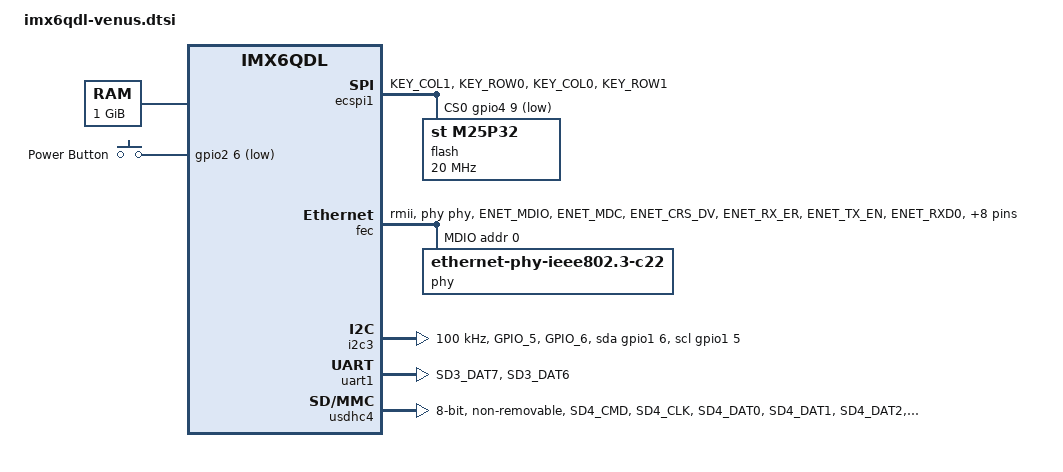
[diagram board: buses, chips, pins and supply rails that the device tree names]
// SPDX-License-Identifier: GPL-2.0
/*
 * Copyright (c) 2023 Koninklijke Philips N.V. All Rights Reserved.
 */

#include <dt-bindings/clock/imx6qdl-clock.h>
#include <dt-bindings/gpio/gpio.h>
#include <dt-bindings/input/input.h>

/ {
	aliases {
	};

	chosen {
		stdout-path = &uart1;
	};

	memory: memory@10000000 {
		device_type = "memory";
		reg = <0x10000000 0x40000000>;
	};

	gpio-keys {
		compatible = "gpio-keys";
		pinctrl-names = "default";
		pinctrl-0 = <&pinctrl_gpio_keys>;

		power {
			label = "Power Button";
			gpios = <&gpio2 6 GPIO_ACTIVE_LOW>;
			wakeup-source;
			linux,code = <KEY_POWER>;
		};
	};
};

&clks {
	assigned-clocks = <&clks IMX6QDL_CLK_LDB_DI0_SEL>,
			  <&clks IMX6QDL_CLK_LDB_DI1_SEL>;
	assigned-clock-parents = <&clks IMX6QDL_CLK_PLL2_PFD0_352M>,
				 <&clks IMX6QDL_CLK_PLL2_PFD0_352M>;
};

&ecspi1 {
	cs-gpios = <&gpio4 9 GPIO_ACTIVE_LOW>;
	pinctrl-names = "default";
	pinctrl-0 = <&pinctrl_ecspi1>;
	status = "okay";

	flash: flash@0 {
		#address-cells = <1>;
		#size-cells = <1>;
		compatible = "st,m25p32", "jedec,spi-nor";
		spi-max-frequency = <20000000>;
		reg = <0>;
	};
};

&fec {
	pinctrl-names = "default";
	pinctrl-0 = <&pinctrl_enet>;
	phy-mode = "rmii";
	phy-reset-gpios = <&gpio1 23 GPIO_ACTIVE_LOW>;
	phy-reset-duration = <5>;
	phy-reset-post-delay = <5>;
	phy-handle = <&phy>;
	status = "okay";

	mdio {
		#address-cells = <1>;
		#size-cells = <0>;

		phy: ethernet-phy@0 {
			compatible = "ethernet-phy-ieee802.3-c22";
			reg = <0>;
			clocks = <&clks IMX6QDL_CLK_ENET>;
			max-speed = <100>;
		};
	};
};

&i2c3 {
	clock-frequency = <100000>;
	pinctrl-names = "default", "gpio";
	pinctrl-0 = <&pinctrl_i2c3>;
	pinctrl-1 = <&pinctrl_i2c3_gpio>;
	scl-gpios = <&gpio1 5 GPIO_ACTIVE_HIGH>;
	sda-gpios = <&gpio1 6 GPIO_ACTIVE_HIGH>;
	status = "okay";
};

&iomuxc {
	pinctrl-names = "default";
	pinctrl-0 = <&pinctrl_hog>;
	status = "okay";

	imx6qdl-venus {
		pinctrl_hog: hoggrp {
			fsl,pins = <
				MX6QDL_PAD_NANDF_D0__GPIO2_IO00 0x1b0b0
				MX6QDL_PAD_NANDF_D1__GPIO2_IO01 0x1b0b0
				MX6QDL_PAD_NANDF_D2__GPIO2_IO02 0x1b0b0
				MX6QDL_PAD_NANDF_D3__GPIO2_IO03 0x1b0b0
				MX6QDL_PAD_GPIO_0__CCM_CLKO1    0x130b0
				MX6QDL_PAD_NANDF_CLE__GPIO6_IO07 0x1b0b0
				MX6QDL_PAD_ENET_TXD1__GPIO1_IO29 0x1b0b0
				MX6QDL_PAD_EIM_D22__GPIO3_IO22  0x1b0b0
				MX6QDL_PAD_ENET_CRS_DV__GPIO1_IO25 0x1b0b0
				MX6QDL_PAD_EIM_CS1__GPIO2_IO24 0x80000000
				MX6QDL_PAD_ENET_RXD0__GPIO1_IO27 0x80000000
				MX6QDL_PAD_EIM_A25__GPIO5_IO02 0x80000000
				MX6QDL_PAD_EIM_D23__GPIO3_IO23 0x80000000
				MX6QDL_PAD_NANDF_CS0__GPIO6_IO11 0x80000000
			>;
		};

		pinctrl_ecspi1: ecspi1grp {
			fsl,pins = <
				MX6QDL_PAD_KEY_COL1__ECSPI1_MISO	0x100b1
				MX6QDL_PAD_KEY_ROW0__ECSPI1_MOSI	0x100b1
				MX6QDL_PAD_KEY_COL0__ECSPI1_SCLK	0x100b1
				MX6QDL_PAD_KEY_ROW1__GPIO4_IO09		0x1b0b0
			>;
		};

		pinctrl_enet: enetgrp {
			fsl,pins = <
				MX6QDL_PAD_ENET_MDIO__ENET_MDIO				0x0001B0B0
				MX6QDL_PAD_ENET_MDC__ENET_MDC				0x0001B0B0
				MX6QDL_PAD_ENET_CRS_DV__ENET_RX_EN			0x0001B0B0
				/* MX6DL_PAD_ENET_RX_ER__ENET_RX_ER, */
				MX6QDL_PAD_ENET_RX_ER__GPIO1_IO24			0x0001B0B0
				MX6QDL_PAD_ENET_TX_EN__ENET_TX_EN			0x0001B0B0
				MX6QDL_PAD_ENET_RXD0__ENET_RX_DATA0			0x0001B0B0
				MX6QDL_PAD_ENET_RXD1__ENET_RX_DATA1			0x0001B0B0
				MX6QDL_PAD_ENET_TXD0__ENET_TX_DATA0			0x0001B0B0
				MX6QDL_PAD_ENET_TXD1__ENET_TX_DATA1			0x0001B0B0
				MX6QDL_PAD_GPIO_16__ENET_REF_CLK			0x4000a038
				MX6QDL_PAD_GPIO_0__CCM_CLKO1				0x000130B0
				MX6QDL_PAD_ENET_REF_CLK__GPIO1_IO23			0x0001B0B0
				MX6QDL_PAD_GPIO_6__ENET_IRQ		0x000b1
			>;
		};

		pinctrl_enet_irq: enetirqgrp {
			fsl,pins = <
				MX6QDL_PAD_GPIO_6__ENET_IRQ		0x000b1
			>;
		};

		pinctrl_gpio_keys: gpio_keysgrp {
			fsl,pins = <
				MX6QDL_PAD_NANDF_D6__GPIO2_IO06 0x1b0b0
				/*
				MX6QDL_PAD_GPIO_4__GPIO1_IO04  0x1b0b0
				MX6QDL_PAD_GPIO_5__GPIO1_IO05  0x1b0b0
				*/
			>;
		};

		pinctrl_i2c3: i2c3grp {
			fsl,pins = <
				/* MX6QDL_PAD_GPIO_3__I2C3_SCL		0x4001b8b1 */
				MX6QDL_PAD_GPIO_5__I2C3_SCL		0x4001b8b1
				MX6QDL_PAD_GPIO_6__I2C3_SDA		0x4001b8b1
			>;
		};

		pinctrl_i2c3_gpio: i2c3_gpio_grp {
			fsl,pins = <
				/* MX6QDL_PAD_GPIO_3__GPIO1_IO03		0x1b8b0 */
				MX6QDL_PAD_GPIO_5__GPIO1_IO05		0x1b8b0
				MX6QDL_PAD_GPIO_6__GPIO1_IO06		0x1b0b0
			>;
		};

		pinctrl_ipu1: ipu1grp {
			fsl,pins = <
				MX6QDL_PAD_DI0_DISP_CLK__IPU1_DI0_DISP_CLK 0x10
				MX6QDL_PAD_DI0_PIN15__IPU1_DI0_PIN15       0x10
				MX6QDL_PAD_DI0_PIN2__IPU1_DI0_PIN02        0x10
				MX6QDL_PAD_DI0_PIN3__IPU1_DI0_PIN03        0x10
				MX6QDL_PAD_DI0_PIN4__IPU1_DI0_PIN04        0x80000000
				MX6QDL_PAD_DISP0_DAT0__IPU1_DISP0_DATA00   0x10
				MX6QDL_PAD_DISP0_DAT1__IPU1_DISP0_DATA01   0x10
				MX6QDL_PAD_DISP0_DAT2__IPU1_DISP0_DATA02   0x10
				MX6QDL_PAD_DISP0_DAT3__IPU1_DISP0_DATA03   0x10
				MX6QDL_PAD_DISP0_DAT4__IPU1_DISP0_DATA04   0x10
				MX6QDL_PAD_DISP0_DAT5__IPU1_DISP0_DATA05   0x10
				MX6QDL_PAD_DISP0_DAT6__IPU1_DISP0_DATA06   0x10
				MX6QDL_PAD_DISP0_DAT7__IPU1_DISP0_DATA07   0x10
				MX6QDL_PAD_DISP0_DAT8__IPU1_DISP0_DATA08   0x10
				MX6QDL_PAD_DISP0_DAT9__IPU1_DISP0_DATA09   0x10
				MX6QDL_PAD_DISP0_DAT10__IPU1_DISP0_DATA10  0x10
				MX6QDL_PAD_DISP0_DAT11__IPU1_DISP0_DATA11  0x10
				MX6QDL_PAD_DISP0_DAT12__IPU1_DISP0_DATA12  0x10
				MX6QDL_PAD_DISP0_DAT13__IPU1_DISP0_DATA13  0x10
				MX6QDL_PAD_DISP0_DAT14__IPU1_DISP0_DATA14  0x10
				MX6QDL_PAD_DISP0_DAT15__IPU1_DISP0_DATA15  0x10
				MX6QDL_PAD_DISP0_DAT16__IPU1_DISP0_DATA16  0x10
				MX6QDL_PAD_DISP0_DAT17__IPU1_DISP0_DATA17  0x10
				MX6QDL_PAD_DISP0_DAT18__IPU1_DISP0_DATA18  0x10
				MX6QDL_PAD_DISP0_DAT19__IPU1_DISP0_DATA19  0x10
				MX6QDL_PAD_DISP0_DAT20__IPU1_DISP0_DATA20  0x10
				MX6QDL_PAD_DISP0_DAT21__IPU1_DISP0_DATA21  0x10
				MX6QDL_PAD_DISP0_DAT22__IPU1_DISP0_DATA22  0x10
				MX6QDL_PAD_DISP0_DAT23__IPU1_DISP0_DATA23  0x10
			>;
		};

		pinctrl_uart1: uart1grp {
			fsl,pins = <
				MX6QDL_PAD_SD3_DAT7__UART1_TX_DATA	0x1b0b1
				MX6QDL_PAD_SD3_DAT6__UART1_RX_DATA	0x1b0b1
			>;
		};

		pinctrl_usdhc4: usdhc4grp {
			fsl,pins = <
				MX6QDL_PAD_SD4_CMD__SD4_CMD		0x17059
				MX6QDL_PAD_SD4_CLK__SD4_CLK		0x10059
				MX6QDL_PAD_SD4_DAT0__SD4_DATA0		0x17059
				MX6QDL_PAD_SD4_DAT1__SD4_DATA1		0x17059
				MX6QDL_PAD_SD4_DAT2__SD4_DATA2		0x17059
				MX6QDL_PAD_SD4_DAT3__SD4_DATA3		0x17059
				MX6QDL_PAD_SD4_DAT4__SD4_DATA4		0x17059
				MX6QDL_PAD_SD4_DAT5__SD4_DATA5		0x17059
				MX6QDL_PAD_SD4_DAT6__SD4_DATA6		0x17059
				MX6QDL_PAD_SD4_DAT7__SD4_DATA7		0x17059
			>;
		};
	};

};

&uart1 {
	pinctrl-names = "default";
	pinctrl-0 = <&pinctrl_uart1>;
	status = "okay";
};

&usdhc4 {
	pinctrl-names = "default";
	pinctrl-0 = <&pinctrl_usdhc4>;
	bus-width = <8>;
	non-removable;
	no-1-8-v;
	auto-cmd23-broken;
	status = "okay";
};
